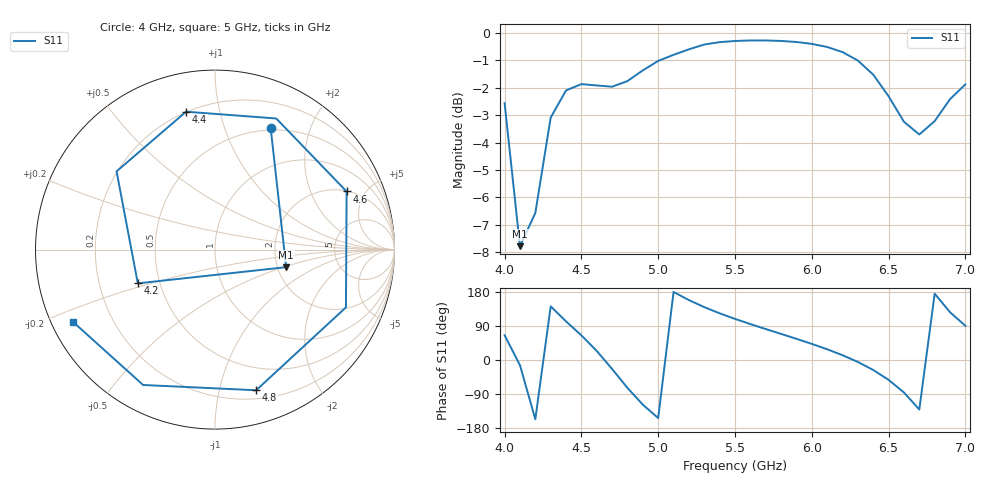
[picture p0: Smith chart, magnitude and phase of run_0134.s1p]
! Touchstone file exported from HFSS 2024.2.0
!  File:  C:/Users/wsak9/Desktop/Sim Fast/Widenad Patch/WP_AI_V1_sweep.aedt
!  Generated:  08:30:06 PM Oct 13, 2026
!  Design:  A1_model
!  Project:  WP_AI_V1_sweep
!  Setup:  Setup1
!  Solution:  Sweep
! Variables:
!  Air_gap = 4.52mm
!  Curve_Amp1 = 2.95
!  Curve_len1 = 1
!  Curve_pos = 13.37mm
!  Extra = 2.78mm
!  H_sub = 0.79mm
!  L_Patch = 22.74mm
!  L_Patch1 = 11.61mm
!  Sx = 0.28mm
!  Sy = 4.32mm
!  WS = 0.61mm
!  W_Patch = 18.31mm
!  W_Patch1 = 8.83mm
!Data is not renormalized
# GHz S MA
! Terminal data exported
! Port[1] = 1
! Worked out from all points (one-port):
!   31 points, 4 GHz to 7 GHz, reference per port
!   lowest |S11| = -7.8 dB at 4.1 GHz (marker M1), VSWR 2.38
!   |S11| at or under -10 dB: nowhere
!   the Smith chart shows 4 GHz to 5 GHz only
!   S11 on the Smith chart (normalised r, x): 4 GHz: 0.48, +1.45; 4.2 GHz: 0.37, -0.18; 4.4 GHz: 0.20, +0.79; 4.6 GHz: 2.03, +3.68; 4.8 GHz: 0.28, -1.30; 5 GHz: 0.06, -0.24
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4  0.7443 65.4
4.1  0.4084 -13.8
4.2  0.4694 -156.4
4.3  0.7005 141.5
4.4  0.7851 101.9
4.5  0.8063 65.0
4.6  0.8016 23.8
4.7  0.7974 -23.8
4.8  0.8166 -73.7
4.9  0.854 -118.0
5  0.8886 -153.2
5.1  0.9116 179.6
5.2  0.9329 158.0
5.3  0.9519 139.5
5.4  0.9613 123.2
5.5  0.9661 108.5
5.7  0.9682 81.7
5.9  0.962 55.9
6.1  0.9421 28.3
6.2  0.9222 12.6
6.3  0.8899 -5.2
6.4  0.8389 -26.4
6.5  0.7661 -52.4
6.6  0.6883 -85.8
6.7  0.6526 -130.7
6.8  0.6903 175.0
6.9  0.7569 126.1
7  0.8053 90.2
